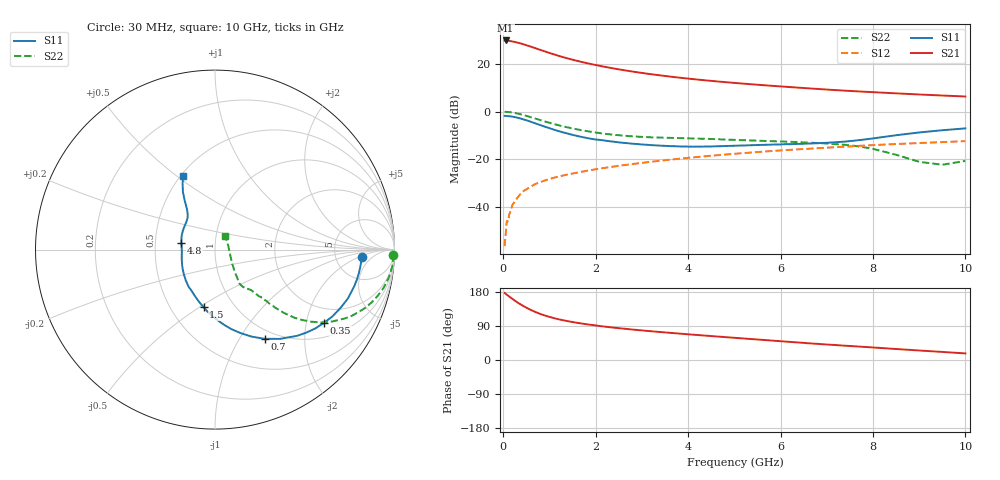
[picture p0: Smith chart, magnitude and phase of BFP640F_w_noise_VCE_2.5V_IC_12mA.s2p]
! Infineon Technologies  Discrete & RF Semiconductors
! BFP640F
! VCE =  2.5 V,  IC =  12 mA
! Common Emitter S-Parameters:  Apr 2013
# GHz  S  MA  R  50
!  f  S11  S21  S12  S22
! GHz  MAG  ANG  MAG  ANG  MAG  ANG  MAG  ANG
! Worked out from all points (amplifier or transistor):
!   99 points, 30 MHz to 10 GHz, reference 50 ohm
!   highest |S21| = 30.0 dB at 50 MHz (marker M1)
!   |S21| within 3 dB of that: start of sweep to 657.9 MHz
!   unconditionally stable (mu >= 1): 2.838 GHz to end of sweep
!   at 350 MHz: K = 0.22, MSG = 32.0 dB, |S12| = -35.1 dB
!   at 3.5 GHz: K = 1.04, MAG = 16.5 dB, |S12| = -20.4 dB
!   at 10 GHz: K = 1.06, MAG = 7.9 dB, |S12| = -12.3 dB
!   lowest NFmin = 0.68 dB at 450 MHz
!   S11 on the Smith chart (normalised r, x): 30 MHz: 9.47, -2.49; 350 MHz: 1.44, -2.54; 700 MHz: 0.88, -1.29; 1.5 GHz: 0.72, -0.52; 4.8 GHz: 0.68, +0.05; 10 GHz: 0.51, +0.53
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0.03  0.8203 -3.0  31.09 177.0  0.0015 84.3  0.9945 -1.6
0.05  0.8167 -5.1  31.48 175.2  0.0025 87.1  0.9957 -3.0
0.13  0.8046 -13.3  30.79 167.4  0.007 87.5  0.9829 -8.4
0.2  0.7893 -20.1  29.89 161.2  0.0111 80.2  0.9632 -12.8
0.25  0.7713 -24.9  29.26 156.8  0.0129 80.3  0.943 -15.8
0.35  0.7314 -34.0  27.7 148.7  0.0176 76.0  0.8987 -21.1
0.4  0.7096 -38.4  26.86 144.9  0.02 74.6  0.8723 -23.5
0.5  0.6633 -46.4  25.02 138.2  0.0234 70.8  0.8194 -27.9
0.6  0.6149 -54.0  23.28 131.9  0.0269 68.8  0.7663 -31.5
0.7  0.5687 -60.9  21.59 126.4  0.0305 67.0  0.7163 -34.5
0.9  0.4857 -73.1  18.55 117.4  0.036 64.4  0.625 -38.9
1.1  0.4192 -83.6  16.03 110.4  0.0412 62.7  0.5514 -41.6
1.3  0.368 -92.7  14 104.8  0.0459 61.8  0.492 -43.3
1.5  0.3268 -101.2  12.4 100.2  0.0504 61.0  0.4456 -44.3
1.7  0.2953 -109.4  11.12 96.2  0.055 60.7  0.4086 -44.9
2.4  0.2343 -134.6  8.087 85.3  0.0707 59.0  0.3279 -47.5
3.4  0.1941 -162.5  5.809 73.8  0.0936 56.3  0.2862 -50.0
4.8  0.1908 169.2  4.195 60.4  0.1261 51.0  0.2609 -53.0
5.1  0.1946 164.4  3.965 57.7  0.1331 49.7  0.2546 -53.4
6.7  0.2165 140.2  3.06 43.4  0.1693 41.9  0.2226 -54.0
8.5  0.3213 121.7  2.437 29.0  0.2099 32.6  0.1248 -39.5
10  0.4473 113.3  2.091 17.4  0.2413 24.3  0.0927 53.1
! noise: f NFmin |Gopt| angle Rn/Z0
0.45  0.68  0.14  8  0.05
0.9  0.68  0.15  19  0.06
1.5  0.69  0.14  28  0.07
1.9  0.7  0.12  43  0.07
2.4  0.73  0.11  55  0.08
3.5  0.82  0.09  90  0.09
5.5  1.01  0.13  -164  0.12
10  1.55  0.4  -95  0.34
